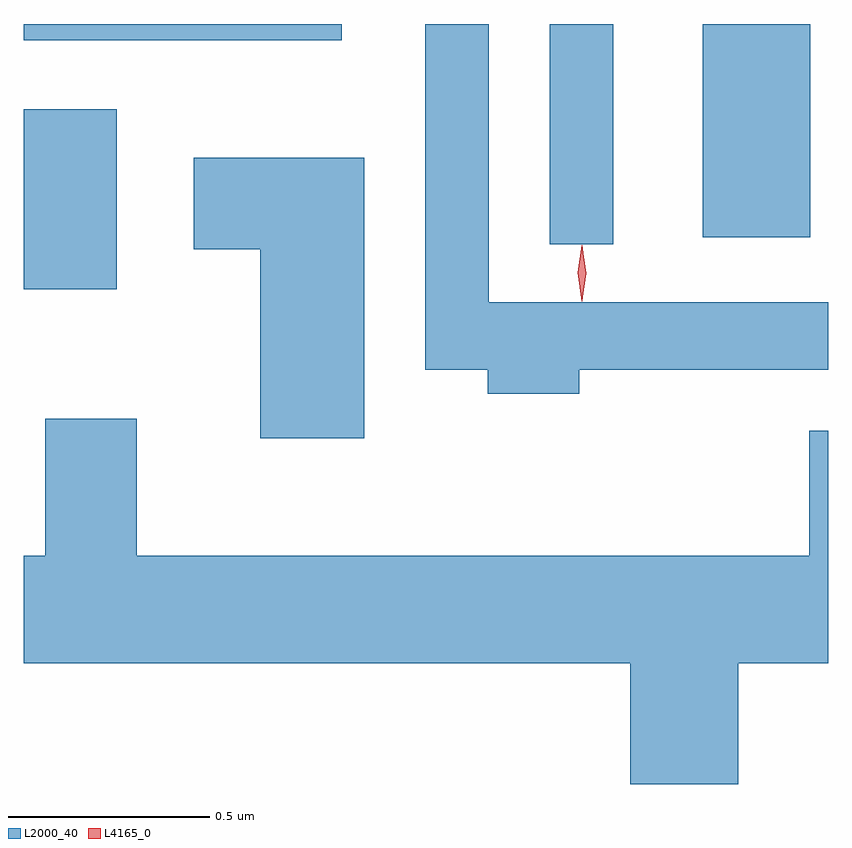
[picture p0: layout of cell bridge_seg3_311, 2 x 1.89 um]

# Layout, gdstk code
import gdstk
lib = gdstk.Library(unit=1e-6, precision=1e-09)
def R(c, l, rs):  # rectangles x0, y0, x1, y1
    for r in rs: c.add(gdstk.rectangle(r[:2], r[2:], *l))
def P(c, l, *ps):  # polygons
    for p in ps: c.add(gdstk.Polygon(p, *l))
L2000_40 = (2000, 40)
L4165_0 = (4165, 0)

bridge_seg3_311 = lib.new_cell('bridge_seg3_311')
R(bridge_seg3_311, L2000_40, [(553.228,1233.506,553.459,1233.954), (554.536,1233.618,554.694,1234.166), (554.916,1233.636,555.184,1234.166), (553.228,1234.126,554.019,1234.166)])
P(bridge_seg3_311, L2000_40, [(554.609,1233.306),(555.228,1233.306),(555.228,1233.474),(554.384,1233.474),(554.384,1234.166),(554.226,1234.166),(554.226,1233.306),(554.381,1233.306),(554.381,1233.246),(554.609,1233.246)],
  [(554.074,1233.834),(553.651,1233.834),(553.651,1233.606),(553.816,1233.606),(553.816,1233.136),(554.074,1233.136)],
  [(555.004,1232.576),(555.228,1232.576),(555.228,1233.154),(555.181,1233.154),(555.181,1232.844),(553.509,1232.844),(553.509,1233.184),(553.281,1233.184),(553.281,1232.844),(553.228,1232.844),(553.228,1232.576),(554.736,1232.576),(554.736,1232.276),(555.004,1232.276)])
P(bridge_seg3_311, L4165_0, [(554.615,1233.477),(554.615,1233.477),(554.605,1233.547),(554.615,1233.616),(554.615,1233.616),(554.616,1233.616),(554.625,1233.547),(554.616,1233.477)],
  [(554.616,1233.479),(554.616,1233.48),(554.606,1233.546),(554.616,1233.612),(554.616,1233.613),(554.617,1233.612),(554.626,1233.546),(554.617,1233.48)])

lib.write_gds('bridge_seg3_311.gds')
